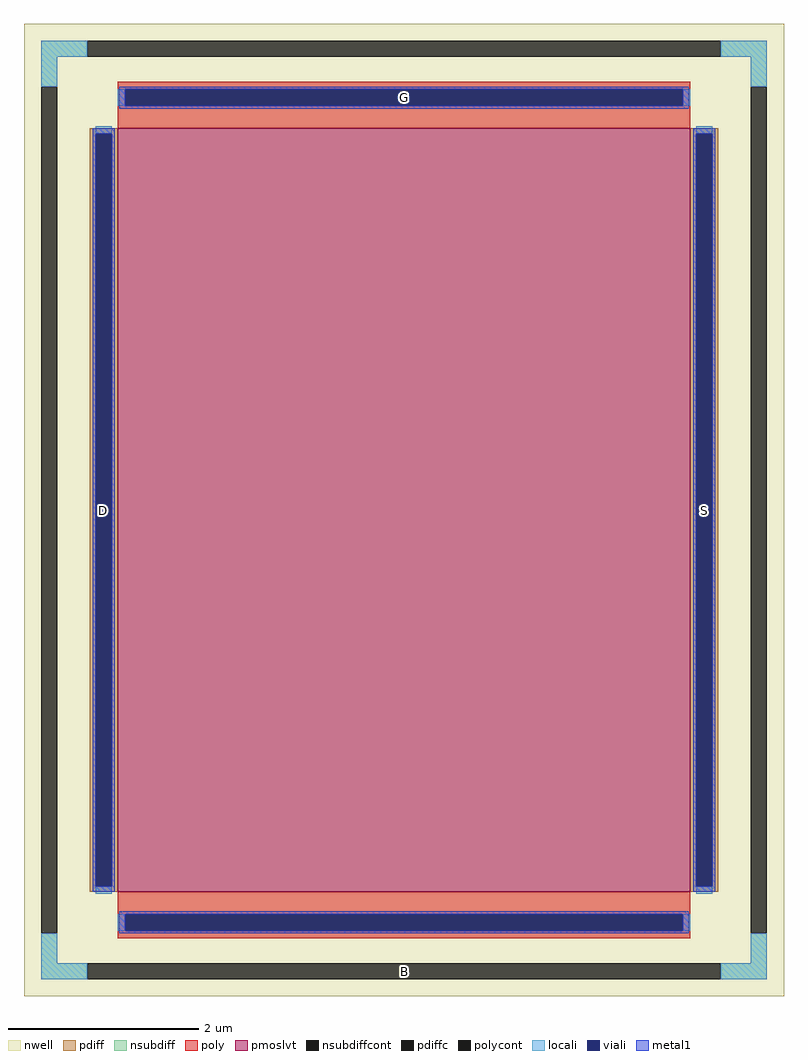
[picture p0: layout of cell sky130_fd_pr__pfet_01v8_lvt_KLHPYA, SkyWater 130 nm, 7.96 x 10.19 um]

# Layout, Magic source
magic
tech sky130A
magscale 1 2
<< nwell >>
rect -796 -1019 796 1019
<< pmoslvt >>
rect -600 -800 600 800
<< pdiff >>
rect -658 788 -600 800
rect -658 -788 -646 788
rect -612 -788 -600 788
rect -658 -800 -600 -788
rect 600 788 658 800
rect 600 -788 612 788
rect 646 -788 658 788
rect 600 -800 658 -788
<< pdiffc >>
rect -646 -788 -612 788
rect 612 -788 646 788
<< nsubdiff >>
rect -760 949 -664 983
rect 664 949 760 983
rect -760 887 -726 949
rect 726 887 760 949
rect -760 -949 -726 -887
rect 726 -949 760 -887
rect -760 -983 -664 -949
rect 664 -983 760 -949
<< nsubdiffcont >>
rect -664 949 664 983
rect -760 -887 -726 887
rect 726 -887 760 887
rect -664 -983 664 -949
<< poly >>
rect -600 881 600 897
rect -600 847 -584 881
rect 584 847 600 881
rect -600 800 600 847
rect -600 -847 600 -800
rect -600 -881 -584 -847
rect 584 -881 600 -847
rect -600 -897 600 -881
<< polycont >>
rect -584 847 584 881
rect -584 -881 584 -847
<< locali >>
rect -760 949 -664 983
rect 664 949 760 983
rect -760 887 -726 949
rect 726 887 760 949
rect -600 847 -584 881
rect 584 847 600 881
rect -646 788 -612 804
rect -646 -804 -612 -788
rect 612 788 646 804
rect 612 -804 646 -788
rect -600 -881 -584 -847
rect 584 -881 600 -847
rect -760 -949 -726 -887
rect 726 -949 760 -887
rect -760 -983 -664 -949
rect 664 -983 760 -949
<< viali >>
rect -584 847 584 881
rect -646 -788 -612 788
rect 612 -788 646 788
rect -584 -881 584 -847
<< metal1 >>
rect -596 881 596 887
rect -596 847 -584 881
rect 584 847 596 881
rect -596 841 596 847
rect -652 788 -606 800
rect -652 -788 -646 788
rect -612 -788 -606 788
rect -652 -800 -606 -788
rect 606 788 652 800
rect 606 -788 612 788
rect 646 -788 652 788
rect 606 -800 652 -788
rect -596 -847 596 -841
rect -596 -881 -584 -847
rect 584 -881 596 -847
rect -596 -887 596 -881
<< labels >>
rlabel nsubdiffcont 0 -966 0 -966 0 B
port 5 nsew
rlabel pdiffc -629 0 -629 0 0 D
port 6 nsew
rlabel pdiffc 629 0 629 0 0 S
port 7 nsew
rlabel polycont 0 864 0 864 0 G
port 8 nsew
<< properties >>
string FIXED_BBOX -743 -966 743 966
string gencell sky130_fd_pr__pfet_01v8_lvt
string library sky130
string parameters w 8.0 l 6.0 m 1 nf 1 diffcov 100 polycov 100 guard 1 glc 1 grc 1 gtc 1 gbc 1 tbcov 100 rlcov 100 topc 1 botc 1 poverlap 0 doverlap 1 lmin 0.35 wmin 0.42 class mosfet compatible {sky130_fd_pr__pfet_01v8  sky130_fd_pr__pfet_01v8_lvt sky130_fd_pr__pfet_01v8_hvt  sky130_fd_pr__pfet_g5v0d10v5} full_metal 1 conn_gates 0 viasrc 100 viadrn 100 viagate 100 viagb 0 viagr 0 viagl 0 viagt 0 doports 1
<< end >>
